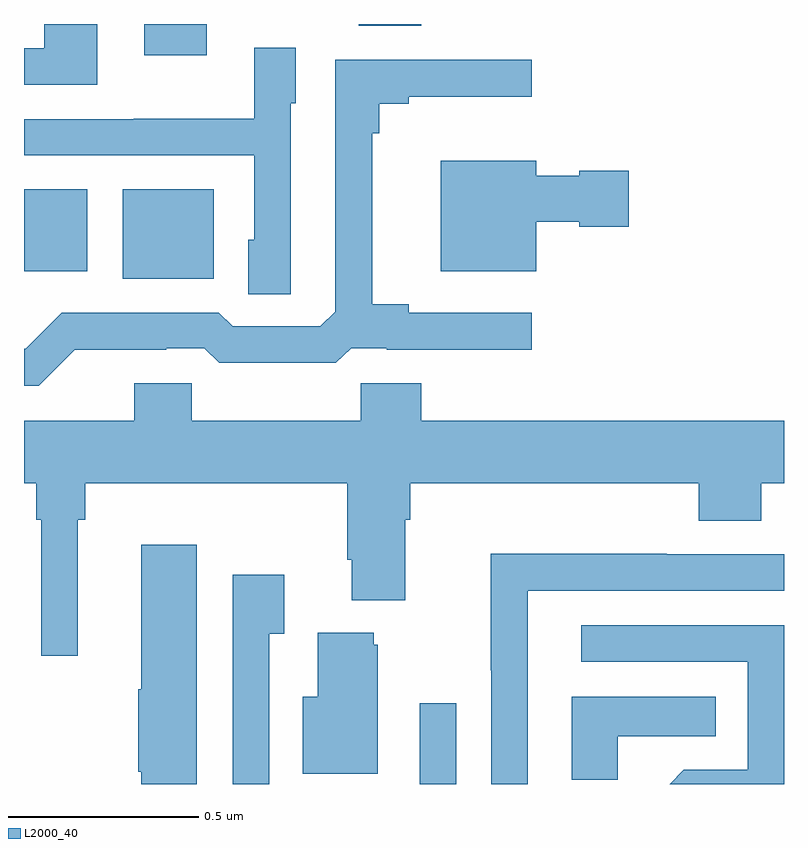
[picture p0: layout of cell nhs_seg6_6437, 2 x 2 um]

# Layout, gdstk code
import gdstk
lib = gdstk.Library(unit=1e-6, precision=1e-09)
def R(c, l, rs):  # rectangles x0, y0, x1, y1
    for r in rs: c.add(gdstk.rectangle(r[:2], r[2:], *l))
def P(c, l, *ps):  # polygons
    for p in ps: c.add(gdstk.Polygon(p, *l))
L2000_40 = (2000, 40)

nhs_seg6_6437 = lib.new_cell('nhs_seg6_6437')
R(nhs_seg6_6437, L2000_40, [(196.041,990.5,196.137,990.712), (195.26,991.829,195.499,992.065), (195,991.85,195.166,992.065), (195.317,992.418,195.481,992.5), (195.881,992.496,196.045,992.5)])
P(nhs_seg6_6437, L2000_40, [(195.193,992.5),(195.053,992.5),(195.053,992.436),(195,992.436),(195,992.34),(195.193,992.34)],
  [(195.702,992.292),(195.715,992.292),(195.715,992.437),(195.606,992.437),(195.606,992.251),(195.289,992.251),(195.289,992.25),(195,992.25),(195,992.154),(195.606,992.154),(195.606,991.932),(195.59,991.932),(195.59,991.789),(195.702,991.789)],
  [(195.134,991.643),(195.374,991.643),(195.374,991.647),(195.474,991.647),(195.514,991.608),(195.821,991.608),(195.861,991.647),(195.955,991.647),(195.955,991.643),(196.336,991.643),(196.336,991.74),(196.012,991.74),(196.012,991.763),(195.917,991.763),(195.917,992.213),(195.935,992.213),(195.935,992.29),(196.012,992.29),(196.012,992.309),(196.336,992.309),(196.336,992.406),(195.819,992.406),(195.819,991.743),(195.78,991.704),(195.549,991.704),(195.513,991.74),(195.099,991.74),(195.005,991.646),(195,991.646),(195,991.548),(195.039,991.548)],
  [(196.348,991.979),(196.461,991.979),(196.461,991.967),(196.591,991.967),(196.591,992.114),(196.461,992.114),(196.461,992.101),(196.348,992.101),(196.348,992.14),(196.097,992.14),(196.097,991.85),(196.348,991.85)],
  [(195.142,991.196),(195.161,991.196),(195.161,991.292),(195.851,991.292),(195.851,991.09),(195.863,991.09),(195.863,990.983),(196.003,990.983),(196.003,991.196),(196.016,991.196),(196.016,991.292),(196.775,991.292),(196.775,991.193),(196.94,991.193),(196.94,991.292),(197,991.292),(197,991.456),(196.046,991.456),(196.046,991.554),(195.886,991.554),(195.886,991.456),(195.441,991.456),(195.441,991.554),(195.29,991.554),(195.29,991.456),(195,991.456),(195,991.292),(195.032,991.292),(195.032,991.196),(195.045,991.196),(195.045,990.837),(195.142,990.837)],
  [(195.454,991.129),(195.308,991.129),(195.308,990.749),(195.301,990.749),(195.301,990.532),(195.308,990.532),(195.308,990.5),(195.454,990.5)],
  [(196.326,991.008),(197,991.008),(197,991.104),(196.691,991.104),(196.691,991.106),(196.228,991.106),(196.228,990.799),(196.23,990.799),(196.23,990.5),(196.326,990.5)],
  [(195.645,990.895),(195.685,990.895),(195.685,991.051),(195.549,991.051),(195.549,990.5),(195.645,990.5)],
  [(197,990.918),(196.467,990.918),(196.467,990.822),(196.905,990.822),(196.905,990.537),(196.736,990.537),(196.699,990.5),(197,990.5)],
  [(195.931,990.867),(195.92,990.867),(195.92,990.898),(195.773,990.898),(195.773,990.73),(195.734,990.73),(195.734,990.527),(195.931,990.527)],
  [(196.563,990.626),(196.82,990.626),(196.82,990.73),(196.442,990.73),(196.442,990.511),(196.563,990.511)])

lib.write_gds('nhs_seg6_6437.gds')
